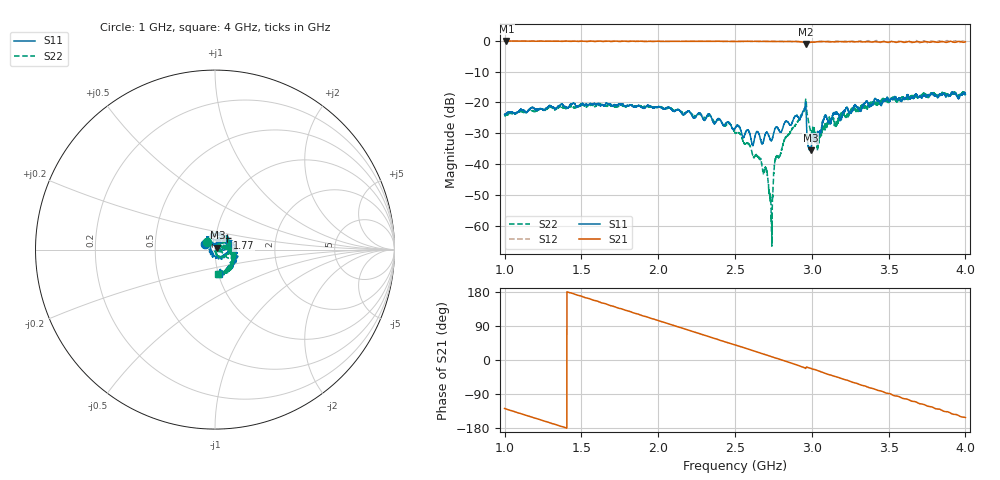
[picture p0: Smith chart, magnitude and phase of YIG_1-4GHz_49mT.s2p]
#  HZ  S  RI  R  50.0
! Rohde & Schwarz ZVL13 2Ports - Version 3.31 - 1303.6509k13 SN: 101088
! Date: 2023-03-06 14:38:00
! Data & Calibration Information:
! Trc4:S11(TOSM) Trc2:S21(TOSM) Trc3:S12(TOSM) Trc5:S22(TOSM)
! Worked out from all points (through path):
!   4000 points, 1 GHz to 4 GHz, reference 50 ohm
!   highest |S21| = -0.06 dB at 1.012 GHz (marker M1); lowest = -1.0 dB at 2.964 GHz (marker M2)
!   group delay of S21, straight-line fit = 356 ps
!   lowest |S11| = -35.6 dB at 2.992 GHz (marker M3), VSWR 1.03, Z = 51.3 + j1.04 ohm
!   |S11| at or under -10 dB: start of sweep to end of sweep
!   |S22| runs from -66.7 to -16.5 dB; largest |S21 - S12| = 0.07
!   S11 on the Smith chart (normalised r, x): 1 GHz: 0.89, +0.06; 1.77 GHz: 1.14, +0.14; 4 GHz: 1.01, -0.28
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1e9  -0.0544 0.0334  -0.6085 -0.7829  -0.6151 -0.7817  -0.0458 0.0399
1.012003e9  -0.0523 0.038  -0.6331 -0.7656  -0.6266 -0.7615  -0.0469 0.0416
1.255064e9  -0.0266 0.0689  -0.9323 -0.3236  -0.9405 -0.3319  -0.0152 0.0748
1.500375e9  0.0204 0.091  -0.9667 0.2018  -0.9722 0.1955  0.0395 0.0837
1.770443e9  0.0683 0.0626  -0.6849 0.7122  -0.6823 0.7278  0.0778 0.0387
2e9  0.0839 0.00417  -0.2385 0.9548  -0.2343 0.9552  0.0845 -0.00355
2.23931e9  0.0438 -0.0341  0.2818 0.9409  0.2881 0.9441  0.0486 -0.0365
2.500375e9  -0.0123 -0.0363  0.7509 0.6268  0.7509 0.6237  0.00969 -0.0306
2.659415e9  -0.0234 -0.0177  0.927 0.3218  0.9265 0.3201  -0.000255 -0.0129
2.704426e9  -0.0326 0.00146  0.9532 0.2226  0.9548 0.2209  0.00738 -0.0034
2.733683e9  -0.0243 0.00239  0.9659 0.1585  0.9709 0.1587  -0.00175 -0.00129
2.769692e9  -0.0336 0.0207  0.9717 0.0801  0.9739 0.0826  0.0102 0.00923
2.948987e9  0.0359 0.0657  0.8892 -0.3203  0.9036 -0.3218  0.0627 0.033
2.963991e9  0.0646 0.00218  0.8379 -0.2909  0.8448 -0.3046  0.0892 -0.0448
2.980495e9  0.0156 0.0086  0.8773 -0.3291  0.8768 -0.3311  0.0416 -0.0194
2.991748e9  0.0132 0.0101  0.8775 -0.3521  0.8825 -0.3528  0.0338 -0.0052
3e9  0.0121 0.0207  0.8773 -0.3731  0.8816 -0.3775  0.0312 0.000151
3.037509e9  -0.011 0.0321  0.8574 -0.4507  0.8579 -0.4451  0.0235 -0.00139
3.086272e9  0.0143 0.0606  0.795 -0.5624  0.7936 -0.5524  0.0326 0.0142
3.500375e9  0.1093 -0.00305  0.0313 -0.9499  0.0248 -0.9403  0.0938 -0.033
3.725431e9  0.1053 -0.0739  -0.4304 -0.8541  -0.4515 -0.8887  0.0957 -0.1022
4e9  0.0235 -0.1338  -0.8484 -0.456  -0.865 -0.4102  0.0156 -0.1294
